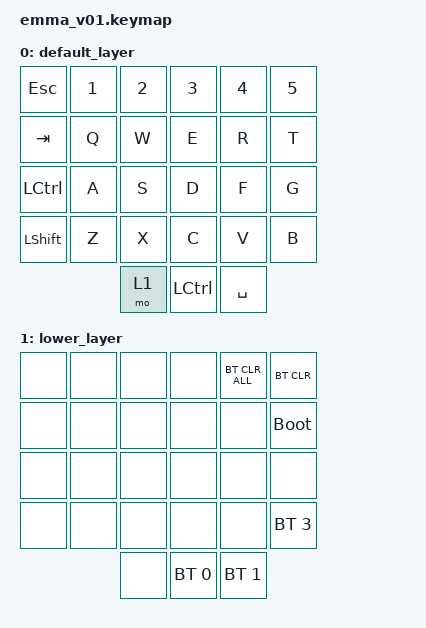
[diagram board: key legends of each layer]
#include <behaviors.dtsi>
#include <dt-bindings/zmk/keys.h>
#include <dt-bindings/zmk/bt.h>

/ {
        keymap {
                compatible = "zmk,keymap";

                default_layer {
// -----------------------------------------------------------------------------------------
// |  TAB |  Q  |  W  |  E  |  R  |  T  |   |  Y  |  U   |  I  |  O  |  P  | BSPC |
// | CTRL |  A  |  S  |  D  |  F  |  G  |   |  H  |  J   |  K  |  L  |  ;  |  '   |
// | SHFT |  Z  |  X  |  C  |  V  |  B  |   |  N  |  M   |  ,  |  .  |  /  | ESC  |
//                    | GUI | LWR | SPC |   | ENT | RSE  | ALT |
                        bindings = <
   &kp ESC   &kp N1 &kp N2 &kp N3 &kp N4 &kp N5                    
   &kp TAB   &kp Q &kp W &kp E &kp R &kp T
   &kp LCTRL &kp A &kp S &kp D &kp F &kp G
   &kp LSHFT &kp Z &kp X &kp C &kp V &kp B
                  &mo 1 &kp LCTRL &kp SPACE
                        >;
                };
                lower_layer {
                        bindings = <
   &none   &none   &none   &none   &bt BT_CLR_ALL   &bt BT_CLR
   &none   &none   &none   &none   &none   &bootloader
   &none   &none   &none   &none   &none   &none
   &none   &none   &none   &none   &none   &bt BT_SEL 3
                   &none   &bt BT_SEL 0  &bt BT_SEL 1
                        >;
                };
        };
};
